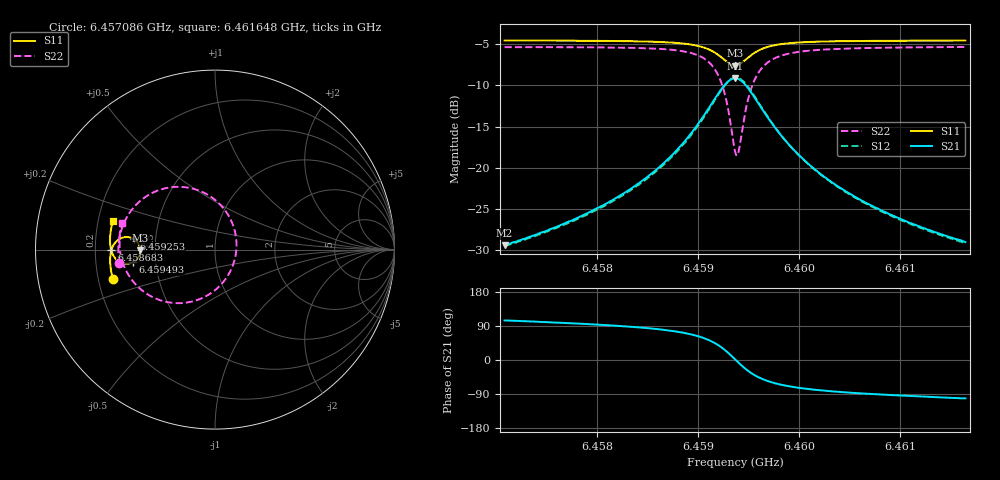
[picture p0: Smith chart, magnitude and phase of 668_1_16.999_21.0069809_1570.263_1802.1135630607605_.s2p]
#  HZ  S  RI  R  50.00
! Rohde & Schwarz Vector Network Analyzer
! Rohde-Schwarz,ZNB20-2Port,1311601062101988,3.16
! Created: UTC 3/20/2024, 11:22:02 PM
! freq[Hz]  re:S11  im:S11  re:S21  im:S21  re:S12  im:S12  re:S22  im:S22
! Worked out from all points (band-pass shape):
!   401 points, 6.457086 GHz to 6.461648 GHz, reference 50 ohm
!   highest |S21| = -9.14 dB at 6.459367 GHz (marker M1); lowest = -29.4 dB at 6.457086 GHz (marker M2)
!   |S21| within 3 dB of the highest: 6.45914 GHz to 6.459597 GHz (456.7 kHz wide, 0.00707 % of centre)
!   lowest |S11| = -7.6 dB at 6.459367 GHz (marker M3), VSWR 2.43, Z = 20.6 - j0.205 ohm
!   |S11| at or under -10 dB: nowhere
!   |S22| runs from -18.5 to -5.3 dB; largest |S21 - S12| = 0.014
!   S11 on the Smith chart (normalised r, x): 6.457086 GHz: 0.26, -0.13; 6.458683 GHz: 0.27, -0.00; 6.459253 GHz: 0.37, +0.06; 6.459493 GHz: 0.37, -0.07; 6.461648 GHz: 0.26, +0.13
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6.4570861e9  -0.5691 -0.1637  -0.00845 0.0329  -0.00681 0.0328  -0.5342 -0.0754
6.4578503e9  -0.582 -0.0966  -0.00494 0.0511  -0.00245 0.0504  -0.5381 0.0146
6.4582723e9  -0.5842 -0.0542  0.00154 0.0706  0.00461 0.0692  -0.5288 0.0821
6.4586144e9  -0.5799 -0.0131  0.0157 0.0995  0.0196 0.0966  -0.5021 0.1597
6.4586829e9  -0.5774 -0.00357  0.021 0.1079  0.0252 0.1045  -0.4919 0.1798
6.4588768e9  -0.5645 0.0267  0.0482 0.1384  0.0523 0.1335  -0.4408 0.2486
6.459025e9  -0.5415 0.0527  0.0942 0.1688  0.0972 0.162  -0.3562 0.3124
6.4591619e9  -0.4973 0.0699  0.1817 0.1847  0.1825 0.1772  -0.1958 0.3497
6.4592531e9  -0.4526 0.0594  0.2718 0.1527  0.2718 0.1469  -0.0288 0.2982
6.4593216e9  -0.4235 0.0271  0.3326 0.0803  0.3345 0.0752  0.0873 0.1678
6.4593672e9  -0.4164 -0.00412  0.349 0.0118  0.3527 0.00512  0.1199 0.0395
6.4594014e9  -0.4204 -0.028  0.3431 -0.0412  0.3472 -0.0501  0.1083 -0.0611
6.459447e9  -0.436 -0.0545  0.3141 -0.1017  0.3165 -0.1137  0.0499 -0.1761
6.4594927e9  -0.4584 -0.0711  0.2714 -0.1433  0.2707 -0.1567  -0.0368 -0.2522
6.4595383e9  -0.4816 -0.0782  0.2261 -0.166  0.2221 -0.1792  -0.1278 -0.2894
6.4595839e9  -0.5024 -0.0781  0.185 -0.1746  0.1789 -0.1863  -0.2089 -0.2983
6.4597322e9  -0.5467 -0.0572  0.0959 -0.1597  0.087 -0.166  -0.3793 -0.2469
6.4598918e9  -0.5683 -0.0291  0.0505 -0.1311  0.0428 -0.1338  -0.4603 -0.1729
6.4601314e9  -0.5808 0.00643  0.0214 -0.0987  0.0154 -0.0992  -0.5079 -0.0889
6.4604849e9  -0.585 0.0487  0.0051 -0.0707  0.00107 -0.0701  -0.5291 -0.00667
6.4608955e9  -0.5828 0.0901  -0.0022 -0.0524  -0.00502 -0.0516  -0.5322 0.0597
6.4616483e9  -0.57 0.1569  -0.0069 -0.0348  -0.00882 -0.0339  -0.5199 0.1493
